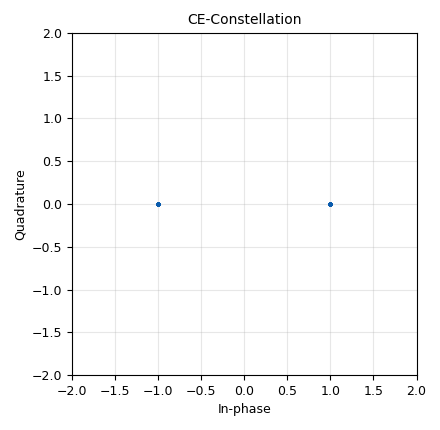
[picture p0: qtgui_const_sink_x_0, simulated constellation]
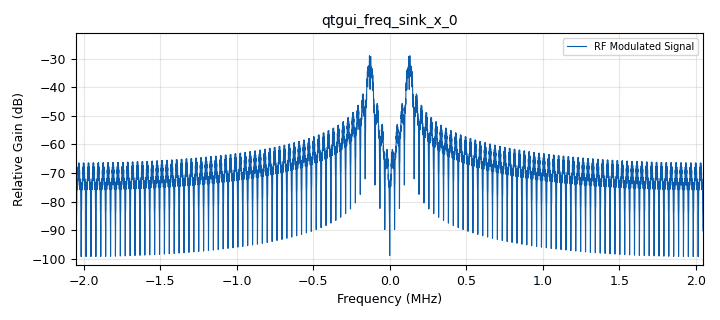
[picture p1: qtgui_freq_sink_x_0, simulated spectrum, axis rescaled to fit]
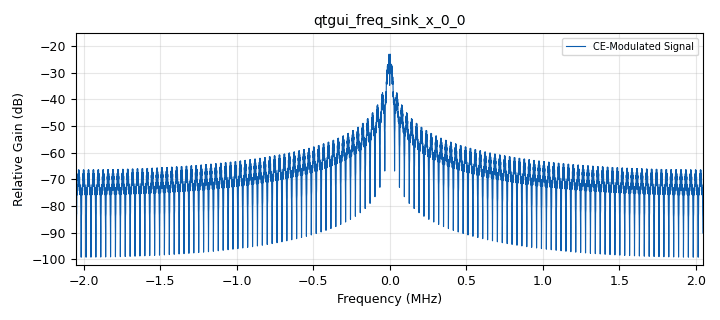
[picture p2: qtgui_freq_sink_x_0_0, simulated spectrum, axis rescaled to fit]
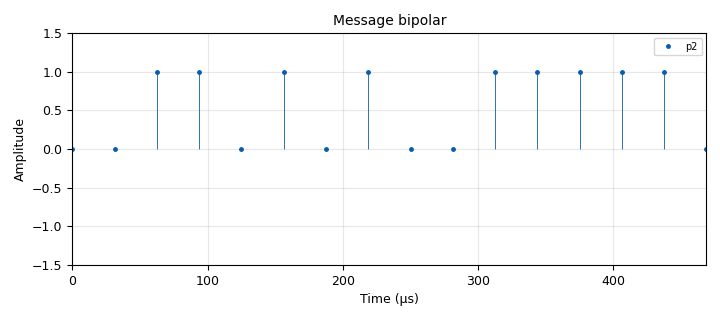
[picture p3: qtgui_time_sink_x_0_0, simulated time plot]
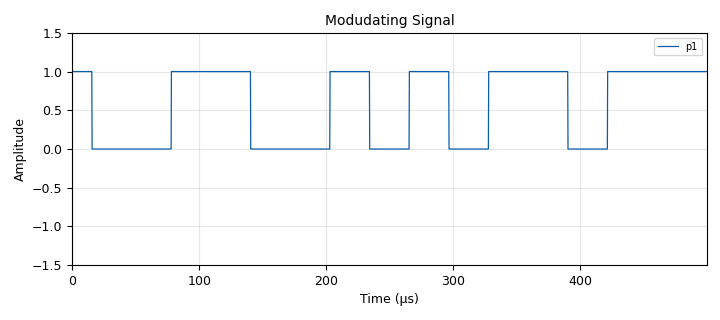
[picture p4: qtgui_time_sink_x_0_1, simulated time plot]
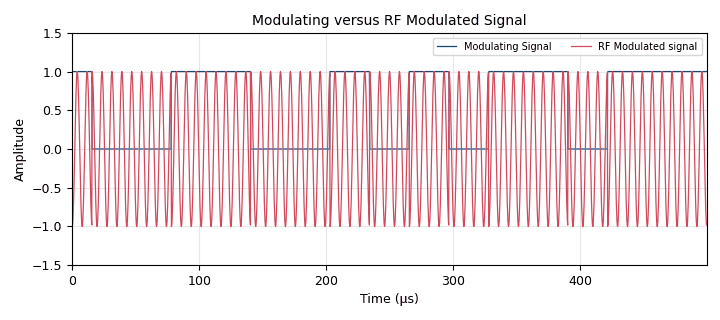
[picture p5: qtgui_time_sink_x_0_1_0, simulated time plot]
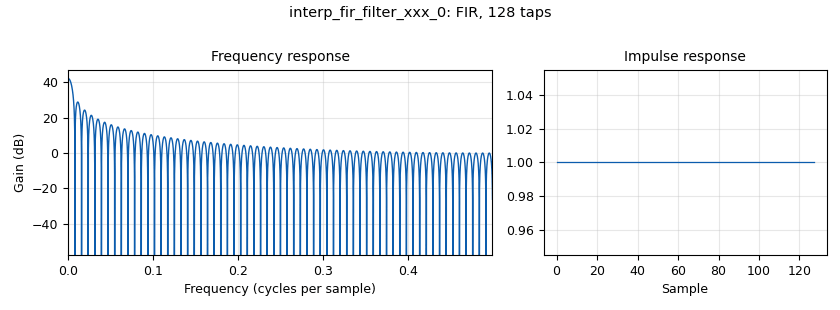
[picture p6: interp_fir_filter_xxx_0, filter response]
options:
  parameters:
    author: nikod
    generate_options: qt_gui
    id: RF_EC_bpsk
    output_language: python
    title: BPSK
  states: {}

blocks:
- name: Rb
  id: variable
  parameters:
    value: '32000'
  states: {}
- name: Sps
  id: variable
  parameters:
    value: '128'
  states: {}
- name: fc
  id: variable_qtgui_range
  parameters:
    gui_hint: 0,0,1,1
    label: 'Carrier Freq. '
    start: '0'
    step: samp_rate/1000
    stop: samp_rate/8
    value: Rb*4
  states: {}
- name: fd
  id: variable_qtgui_range
  parameters:
    gui_hint: 0,1,1,1
    label: Deviation Freq
    start: '0'
    step: samp_rate/1000
    stop: samp_rate/8
    value: Rb
  states: {}
- name: h
  id: variable
  parameters:
    value: '[1]*Sps'
  states: {}
- name: samp_rate
  id: variable
  parameters:
    value: Rb*Sps
  states: {}
- name: Menu
  id: qtgui_tab_widget
  parameters:
    gui_hint: 4,0,1,2
    label0: Message
    label1: RF Modulated. Time Domain
    label2: RF Modulated. Freq Domain
    label3: Constellation
    num_tabs: '4'
  states: {}
- name: analog_const_source_x_0
  id: analog_const_source_x
  parameters:
    const: '1'
    type: float
  states: {}
- name: analog_random_source_x_0
  id: analog_random_source_x
  parameters:
    max: '2'
    min: '0'
    num_samps: '1000000'
    repeat: 'True'
    type: byte
  states: {}
- name: blocks_add_const_vxx_0
  id: blocks_add_const_vxx
  parameters:
    const: '-0.5'
    type: float
  states: {state: disabled}
- name: blocks_char_to_float_0
  id: blocks_char_to_float
  parameters:
    scale: '1'
  states: {}
- name: blocks_multiply_const_vxx_0
  id: blocks_multiply_const_vxx
  parameters:
    const: 2*math.pi*fd/(Rb*Sps)
    type: float
  states: {state: disabled}
- name: blocks_multiply_const_vxx_0_0
  id: blocks_multiply_const_vxx
  parameters:
    const: '2'
    type: float
  states: {state: disabled}
- name: blocks_multiply_const_vxx_0_1
  id: blocks_multiply_const_vxx
  parameters:
    const: math.pi
    type: float
  states: {}
- name: epy_block_0
  id: epy_block
  parameters:
    _source_code: "import numpy as np\nfrom gnuradio import gr\nimport math\n\nclass blk(gr.sync_block):  \n    \"\"\"This block is a RF VCO and works as \n    following: \n    The custom block e_RF_VCO_ff implements \n    a Voltage-Controlled Oscillator (VCO) \n    to generate a modulated radiofrequency(RF) \n    signal from two input signals: an \n    amplitude signal (A) and a phase signal(Q).\n    The core operation of the block involves \n    producing a discrete signal y[nTs] by \n    multiplying the amplitude A with a cosine\n    function, which generates the modulated \n    carrier. In the formula, fc represents\n    the carrier frequency, Ts is the sampling\n    period defined as Ts=1/fs and n is the\n    discrete time index.\n    In the code implementation, a time vector\n    generated using the np.linspace function\n    is employed to simulate the temporal \n    continuity of the process through the\n    self.n_m accumulator. This vector \n    represents the sampling instants required\n    to compute the modulating cosine function.\n    The purpose of this block is to facilitate\n    the conversion of baseband signals to the\n    radiofrequency (RF) domain.\"\"\"\n\n    def __init__(self, fc=128000, samp_rate=320000):  \n        gr.sync_block.__init__(\n            self,\n            name='e_RF_VCO_ff',   \n            in_sig=[np.float32, np.float32],\n            out_sig=[np.float32]\n        )\n        self.fc = fc\n        self.samp_rate = samp_rate\n        self.n_m=0\n\n    def work(self, input_items, output_items):\n        A=input_items[0]\n        Q=input_items[1]\n        y=output_items[0]\n        N=len(A)\n        n=np.linspace(self.n_m,self.n_m+N-1,N)\n        self.n_m += N\n        y[:]=A*np.cos(2*math.pi*self.fc*n/self.samp_rate+Q)\n        return len(output_items[0])\n\n\n"
    fc: fc
    samp_rate: samp_rate
  states: {}
- name: epy_block_0_0
  id: epy_block
  parameters:
    _source_code: |
      import numpy as np
      from gnuradio import gr
      import math

      class blk(gr.sync_block):  
          """This block is a CE VCO or
          baseband VCO and works as following: 
          The e_CE_VCO_fc block is a VCO 
          designed to operate in the baseband 
          domain, generating a complex envelope 
          from two input signals: a magnitude 
          A(t) and a phase Q(t). In the formula
          for the complex envelope, A(t) represents
          the in-phase component, while Q(t) 
          corresponds to the instantaneous phase
          (or the quadrature component, when 
          interpreted from the perspective of an
          I/Q modulator). The output is therefore
          a complex signal that encapsulates all 
          amplitude and phase modulation 
          information,enabling the signal to
          be analyzed or transmitted without
          the need to upconvert it directly
          to the radiofrequency (RF) domain."""

          def __init__(self,):  
              gr.sync_block.__init__(
                  self,
                  name='e_CE_VCO_fc',   
                  in_sig=[np.float32, np.float32],
                  out_sig=[np.complex64]
              )
              
          def work(self, input_items, output_items):
              A=input_items[0]
              Q=input_items[1]
              y=output_items[0]
              N=len(A)
              y[:]=A*np.exp(1j*Q)
              return len(output_items[0])
  states: {}
- name: epy_block_0_1
  id: epy_block
  parameters:
    _source_code: |
      """
      Embedded Python Blocks:

      Each time this file is saved, GRC will instantiate the first class it finds
      to get ports and parameters of your block. The arguments to __init__  will
      be the parameters. All of them are required to have default values!
      """

      import numpy as np
      from gnuradio import gr


      class blk(gr.sync_block):  # other base classes are basic_block, decim_block, interp_block
          """Embedded Python Block example - a simple multiply const"""

          def __init__(self,):  # only default arguments here
              """arguments to this function show up as parameters in GRC"""
              gr.sync_block.__init__(
                  self,
                  name='e_Acum',   # will show up in GRC
                  in_sig=[np.float32],
                  out_sig=[np.float32]
              )
              self.acum=0
              
          def work(self, input_items, output_items):
              x=input_items[0]
              y= output_items[0]


              y[:]=self.acum+np.cumsum(x)
              self.acum=y[-1]
              return len(y)
  states: {state: disabled}
- name: import_0
  id: import
  parameters:
    imports: import math
  states: {}
- name: import_0_0
  id: import
  parameters:
    imports: import numpy as np
  states: {}
- name: interp_fir_filter_xxx_0
  id: interp_fir_filter_xxx
  parameters:
    interp: Sps
    taps: h
    type: fff
  states: {}
- name: qtgui_const_sink_x_0
  id: qtgui_const_sink_x
  parameters:
    gui_hint: Menu@3:3,1,1,1
    name: '"CE-Constellation"'
    size: '1024'
    type: complex
    width1: '8'
  states: {}
- name: qtgui_freq_sink_x_0
  id: qtgui_freq_sink_x
  parameters:
    average: '0.05'
    bw: samp_rate
    fc: '0'
    fftsize: 1024*8
    gui_hint: Menu@2:2,1,1,1
    label1: RF Modulated Signal
    type: float
    width1: '2'
    ymax: '-35'
    ymin: '-65'
  states: {}
- name: qtgui_freq_sink_x_0_0
  id: qtgui_freq_sink_x
  parameters:
    average: '0.05'
    bw: samp_rate
    fc: '0'
    fftsize: 1024*8
    gui_hint: Menu@2:3,1,1,1
    label1: CE-Modulated Signal
    type: complex
    width1: '2'
    ymax: '-35'
    ymin: '-65'
  states: {}
- name: qtgui_time_sink_x_0_0
  id: qtgui_time_sink_x
  parameters:
    gui_hint: Menu@0:3,1,1,1
    label1: p2
    marker1: '0'
    name: '"Message bipolar"'
    size: '16'
    srate: Rb
    stemplot: 'True'
    type: float
    width1: '3'
    ymax: '1.5'
    ymin: '-1.5'
  states: {}
- name: qtgui_time_sink_x_0_1
  id: qtgui_time_sink_x
  parameters:
    gui_hint: Menu@0:4,1,1,1
    label1: p1
    name: Modudating Signal
    size: 16*Sps
    srate: samp_rate
    type: float
    width1: '3'
    ymax: '1.5'
    ymin: '-1.5'
  states: {}
- name: qtgui_time_sink_x_0_1_0
  id: qtgui_time_sink_x
  parameters:
    gui_hint: Menu@1:2,1,1,1
    label1: Modulating Signal
    label2: RF Modulated signal
    name: Modulating versus RF Modulated Signal
    nconnections: '2'
    size: 16*Sps
    srate: samp_rate
    type: float
    width1: '4'
    width2: '2'
    ymax: '1.5'
    ymin: '-1.5'
  states: {}
- name: qtgui_time_sink_x_0_1_0_0
  id: qtgui_time_sink_x
  parameters:
    gui_hint: Menu@1:3,1,1,1
    label1: I-Signal
    label2: Q-signal
    name: CE Modulated Signal
    size: 16*Sps
    srate: samp_rate
    type: complex
    width1: '2'
    width2: '2'
    ymax: '1.5'
    ymin: '-1.5'
  states: {}
- name: virtual_sink_0_0
  id: virtual_sink
  parameters:
    stream_id: p2
  states: {}
- name: virtual_sink_0_0_0
  id: virtual_sink
  parameters:
    stream_id: p3
  states: {}
- name: virtual_sink_0_0_0_0
  id: virtual_sink
  parameters:
    stream_id: p4
  states: {}
- name: virtual_sink_0_0_0_0_0
  id: virtual_sink
  parameters:
    stream_id: p4b
  states: {}
- name: virtual_source_0_0
  id: virtual_source
  parameters:
    stream_id: p2
  states: {}
- name: virtual_source_0_1
  id: virtual_source
  parameters:
    stream_id: p3
  states: {}
- name: virtual_source_0_1_0
  id: virtual_source
  parameters:
    stream_id: p4
  states: {}
- name: virtual_source_0_1_0_0
  id: virtual_source
  parameters:
    stream_id: p4b
  states: {}

connections:
- [analog_const_source_x_0, '0', epy_block_0, '0']
- [analog_const_source_x_0, '0', epy_block_0_0, '0']
- [analog_random_source_x_0, '0', blocks_char_to_float_0, '0']
- [blocks_add_const_vxx_0, '0', blocks_multiply_const_vxx_0_0, '0']
- [blocks_char_to_float_0, '0', blocks_add_const_vxx_0, '0']
- [blocks_char_to_float_0, '0', interp_fir_filter_xxx_0, '0']
- [blocks_char_to_float_0, '0', virtual_sink_0_0, '0']
- [blocks_multiply_const_vxx_0_0, '0', interp_fir_filter_xxx_0, '0']
- [blocks_multiply_const_vxx_0_0, '0', virtual_sink_0_0, '0']
- [blocks_multiply_const_vxx_0_1, '0', epy_block_0, '1']
- [blocks_multiply_const_vxx_0_1, '0', epy_block_0_0, '1']
- [epy_block_0, '0', virtual_sink_0_0_0_0, '0']
- [epy_block_0_0, '0', virtual_sink_0_0_0_0_0, '0']
- [epy_block_0_1, '0', blocks_multiply_const_vxx_0, '0']
- [interp_fir_filter_xxx_0, '0', blocks_multiply_const_vxx_0_1, '0']
- [interp_fir_filter_xxx_0, '0', epy_block_0_1, '0']
- [interp_fir_filter_xxx_0, '0', virtual_sink_0_0_0, '0']
- [virtual_source_0_0, '0', qtgui_time_sink_x_0_0, '0']
- [virtual_source_0_1, '0', qtgui_time_sink_x_0_1, '0']
- [virtual_source_0_1, '0', qtgui_time_sink_x_0_1_0, '0']
- [virtual_source_0_1_0, '0', qtgui_freq_sink_x_0, '0']
- [virtual_source_0_1_0, '0', qtgui_time_sink_x_0_1_0, '1']
- [virtual_source_0_1_0_0, '0', qtgui_const_sink_x_0, '0']
- [virtual_source_0_1_0_0, '0', qtgui_freq_sink_x_0_0, '0']
- [virtual_source_0_1_0_0, '0', qtgui_time_sink_x_0_1_0_0, '0']

metadata:
  file_format: 1
  grc_version: 3.10.10.0
